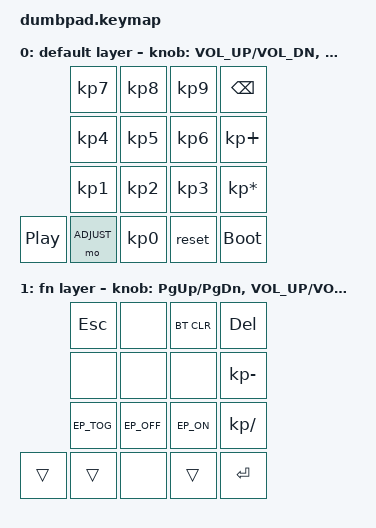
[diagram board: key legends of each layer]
/*
 * Copyright (c) 2022 The ZMK Contributors
 *
 * SPDX-License-Identifier: MIT
 */

#include <behaviors.dtsi>
#include <dt-bindings/zmk/keys.h>
#include <dt-bindings/zmk/bt.h>
#include <dt-bindings/zmk/ext_power.h>


#define TIMEOUT 50
#define DEFAULT 0
#define ADJUST  1

&left_encoder {
    status = "okay";
};

&right_encoder {
    status = "disabled";
};

/ {
/*  ------------------
 *  |     0  1  2  3 |
 *  |     4  5  6  7 |
 *  |     8  9 10 11 |
 *  | 12 13 14 15 16 |
 *  ------------------
 */
    combos {
        compatible = "zmk,combos";
        combo_bootloader {
            timeout-ms = <TIMEOUT>;
            key-positions = <1 2>;
            bindings = <&bootloader>;
        };
        combo_reset {
            timeout-ms = <TIMEOUT>;
            key-positions = <1 3>;
            bindings = <&reset>;
        };
        combo_bt_nxt {
            timeout-ms = <TIMEOUT>;
            key-positions = <1 4>;
            bindings = <&bt BT_NXT>;
        };
        combo_btclr {
            timeout-ms = <TIMEOUT>;
            key-positions = <1 6>;
            bindings = <&bt BT_CLR>;
        };
    };

    sensors {
        compatible = "zmk,keymap-sensors";
        sensors = <&left_encoder &right_encoder>;
    };

    keymap0: keymap {
        compatible = "zmk,keymap";

        default_layer {
            label = "default layer";
            bindings = <
                            &kp KP_N7    &kp KP_N8       &kp KP_N9         &kp BSPC
                            &kp KP_N4    &kp KP_N5       &kp KP_N6         &kp KP_PLUS
                            &kp KP_N1    &kp KP_N2       &kp KP_N3         &kp KP_MULTIPLY
                &kp C_PP    &mo ADJUST   &kp KP_N0       &reset            &bootloader
            >;
            sensor-bindings = <&inc_dec_kp C_VOL_UP C_VOL_DN &inc_dec_kp PG_UP PG_DN>;

        };

        fn_layer {
            label = "fn layer";
            bindings = <
                            &kp ESC    &none         &bt BT_CLR      &kp DEL
                            &none      &none         &none           &kp KP_MINUS
                            &kp EP_TOG &kp EP_OFF    &kp EP_ON       &kp KP_DIVIDE
                &trans      &trans     &none         &trans          &kp ENTER
            >;
            sensor-bindings = <&inc_dec_kp PG_UP PG_DN &inc_dec_kp C_VOL_UP C_VOL_DN>;
        };
    };
};
